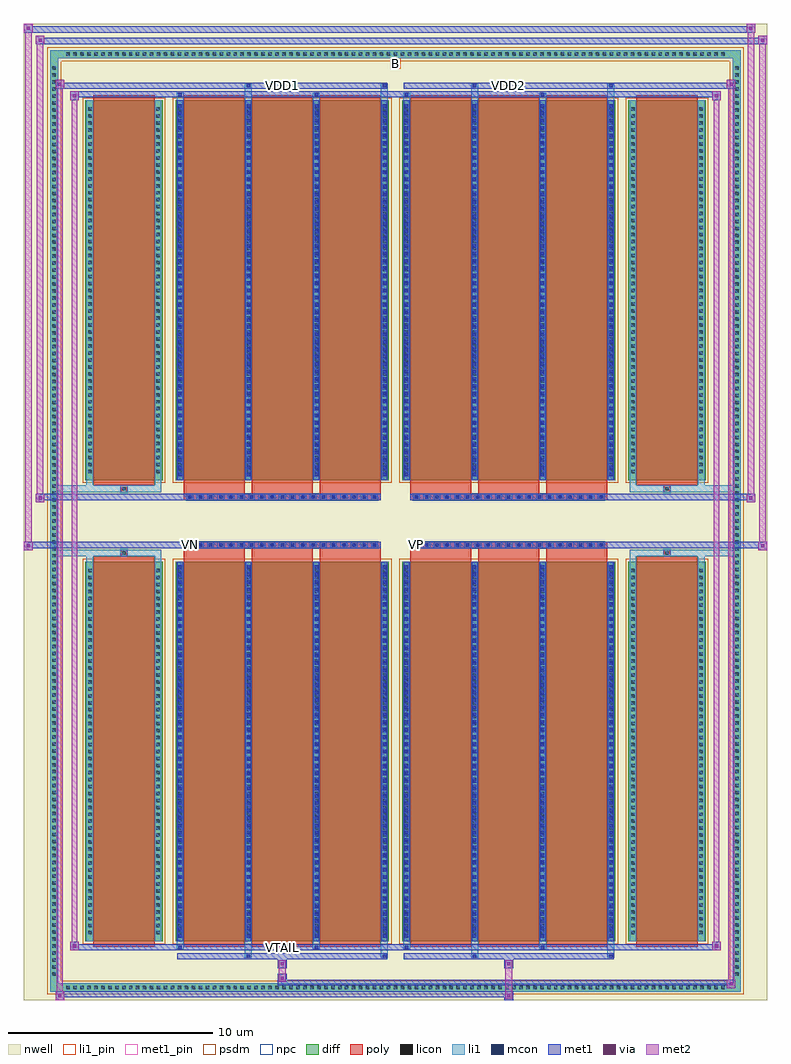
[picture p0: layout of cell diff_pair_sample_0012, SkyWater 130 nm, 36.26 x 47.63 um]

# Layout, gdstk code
import gdstk
lib = gdstk.Library(unit=1e-6, precision=5e-09)
def R(c, l, rs):  # rectangles x0, y0, x1, y1
    for r in rs: c.add(gdstk.rectangle(r[:2], r[2:], *l))
def A(c, l, x, y, w, h, nx, ny, dx, dy):  # array of equal rectangles
    R(c, l, [(x+i*dx, y+j*dy, x+i*dx+w, y+j*dy+h) for i in range(nx) for j in range(ny)])
def P(c, l, *ps):  # polygons
    for p in ps: c.add(gdstk.Polygon(p, *l))
nwell = (64, 20)
diff = (65, 20)
poly = (66, 20)
licon = (66, 44)
li1_pin = (67, 16)
li1 = (67, 20)
mcon = (67, 44)
met1_pin = (68, 16)
met1 = (68, 20)
via = (68, 44)
met2 = (69, 20)
psdm = (94, 20)
npc = (95, 20)

diff_pair_sample_0012 = lib.new_cell('diff_pair_sample_0012')
R(diff_pair_sample_0012, nwell, [(-18.13,-23.38,18.13,24.25), (-15.45,-21.57,-0.01,-0.805), (0.01,-21.57,15.45,-0.805), (-15.45,0.805,-0.01,21.57), (0.01,0.805,15.45,21.57)])
A(diff_pair_sample_0012, diff, -16.185, -22.98, 0.41, 0.41, 95, 2, 0.34, 45.55)
A(diff_pair_sample_0012, diff, -16.86, -22.305, 0.41, 0.41, 1, 131, 0, 0.34)
A(diff_pair_sample_0012, diff, 16.45, -22.305, 0.41, 0.41, 1, 131, 0, 0.34)
R(diff_pair_sample_0012, diff, [(-16.185,-22.98,16.185,-22.57), (-16.86,-22.305,-16.45,22.305), (16.45,-22.305,16.86,22.305), (-15.14,-20.525,-11.37,-1.985), (-10.73,-20.525,-0.32,-1.985), (0.32,-20.525,10.73,-1.985), (11.37,-20.525,15.14,-1.985), (-15.14,1.985,-11.37,20.525), (-10.73,1.985,-0.32,20.525), (0.32,1.985,10.73,20.525), (11.37,1.985,15.14,20.525), (-16.185,22.57,16.185,22.98)])
P(diff_pair_sample_0012, diff, [(16.86,22.98),(-16.86,22.98),(-16.86,-22.57),(-16.45,-22.57),(-16.45,22.57),(16.45,22.57),(16.45,-22.57),(-16.45,-22.57),(-16.86,-22.57),(-16.86,-22.98),(16.86,-22.98)])
A(diff_pair_sample_0012, poly, -10.34, -20.775, 2.99, 19.04, 3, 2, 3.32, 22.51)
A(diff_pair_sample_0012, poly, 0.71, -20.775, 2.99, 19.04, 3, 2, 3.32, 22.51)
A(diff_pair_sample_0012, poly, -10.34, -1.735, 2.99, 0.4, 3, 2, 3.32, 3.07)
A(diff_pair_sample_0012, poly, 0.71, -1.735, 2.99, 0.4, 3, 2, 3.32, 3.07)
A(diff_pair_sample_0012, poly, -10.19, -1.335, 0.33, 0.33, 19, 2, 0.5, 2.34)
A(diff_pair_sample_0012, poly, 0.86, -1.335, 0.33, 0.33, 19, 2, 0.5, 2.34)
R(diff_pair_sample_0012, poly, [(-14.75,-20.775,-11.76,-1.735), (11.76,-20.775,14.75,-1.735), (-13.42,-1.735,-13.09,-1.405), (-13.42,-1.735,-13.09,-1.405), (13.09,-1.735,13.42,-1.405), (13.09,-1.735,13.42,-1.405), (-10.34,-1.335,-0.71,-1.005), (0.71,-1.335,10.34,-1.005), (-10.34,1.005,-0.71,1.335), (0.71,1.005,10.34,1.335), (-13.42,1.405,-13.09,1.735), (-13.42,1.405,-13.09,1.735), (13.09,1.405,13.42,1.735), (13.09,1.405,13.42,1.735), (-14.75,1.735,-11.76,20.775), (11.76,1.735,14.75,20.775)])
A(diff_pair_sample_0012, licon, -16.065, -22.86, 0.17, 0.17, 95, 2, 0.34, 45.55)
A(diff_pair_sample_0012, licon, -16.74, -22.185, 0.17, 0.17, 1, 131, 0, 0.34)
A(diff_pair_sample_0012, licon, 16.57, -22.185, 0.17, 0.17, 1, 131, 0, 0.34)
A(diff_pair_sample_0012, licon, -15, -20.18, 0.17, 0.17, 1, 53, 0, 0.34)
A(diff_pair_sample_0012, licon, -11.68, -20.18, 0.17, 0.17, 1, 53, 0, 0.34)
A(diff_pair_sample_0012, licon, -10.59, -20.18, 0.17, 0.17, 4, 53, 3.32, 0.34)
A(diff_pair_sample_0012, licon, 0.46, -20.18, 0.17, 0.17, 4, 53, 3.32, 0.34)
A(diff_pair_sample_0012, licon, 11.51, -20.18, 0.17, 0.17, 1, 53, 0, 0.34)
A(diff_pair_sample_0012, licon, 14.83, -20.18, 0.17, 0.17, 1, 53, 0, 0.34)
A(diff_pair_sample_0012, licon, -10.11, -1.255, 0.17, 0.17, 19, 2, 0.5, 2.34)
A(diff_pair_sample_0012, licon, 0.94, -1.255, 0.17, 0.17, 19, 2, 0.5, 2.34)
A(diff_pair_sample_0012, licon, -15, 2.33, 0.17, 0.17, 1, 53, 0, 0.34)
A(diff_pair_sample_0012, licon, -11.68, 2.33, 0.17, 0.17, 1, 53, 0, 0.34)
A(diff_pair_sample_0012, licon, -10.59, 2.33, 0.17, 0.17, 4, 53, 3.32, 0.34)
A(diff_pair_sample_0012, licon, 0.46, 2.33, 0.17, 0.17, 4, 53, 3.32, 0.34)
A(diff_pair_sample_0012, licon, 11.51, 2.33, 0.17, 0.17, 1, 53, 0, 0.34)
A(diff_pair_sample_0012, licon, 14.83, 2.33, 0.17, 0.17, 1, 53, 0, 0.34)
R(diff_pair_sample_0012, licon, [(-13.34,-1.655,-13.17,-1.485), (13.17,-1.655,13.34,-1.485), (-13.34,1.485,-13.17,1.655), (13.17,1.485,13.34,1.655)])
R(diff_pair_sample_0012, li1_pin, [(-0.25,22.07,0.25,22.57)])
A(diff_pair_sample_0012, li1, -16.145, -22.94, 0.33, 0.33, 95, 2, 0.34, 45.55)
A(diff_pair_sample_0012, li1, -16.82, -22.265, 0.33, 0.33, 1, 131, 0, 0.34)
A(diff_pair_sample_0012, li1, 16.49, -22.265, 0.33, 0.33, 1, 131, 0, 0.34)
A(diff_pair_sample_0012, li1, -10.67, -20.525, 0.33, 18.54, 4, 2, 3.32, 22.51)
A(diff_pair_sample_0012, li1, 0.38, -20.525, 0.33, 18.54, 4, 2, 3.32, 22.51)
A(diff_pair_sample_0012, li1, -10.59, -20.34, 0.17, 0.17, 4, 51, 3.32, 0.36)
A(diff_pair_sample_0012, li1, -10.59, -20.34, 0.17, 18.17, 4, 2, 3.32, 22.51)
A(diff_pair_sample_0012, li1, 0.46, -20.34, 0.17, 0.17, 4, 51, 3.32, 0.36)
A(diff_pair_sample_0012, li1, 0.46, -20.34, 0.17, 18.17, 4, 2, 3.32, 22.51)
A(diff_pair_sample_0012, li1, -15.08, -20.26, 0.33, 0.33, 1, 53, 0, 0.34)
A(diff_pair_sample_0012, li1, -11.76, -20.26, 0.33, 0.33, 1, 53, 0, 0.34)
A(diff_pair_sample_0012, li1, -10.67, -20.26, 0.33, 0.33, 4, 53, 3.32, 0.34)
A(diff_pair_sample_0012, li1, 0.38, -20.26, 0.33, 0.33, 4, 53, 3.32, 0.34)
A(diff_pair_sample_0012, li1, 11.43, -20.26, 0.33, 0.33, 1, 53, 0, 0.34)
A(diff_pair_sample_0012, li1, 14.75, -20.26, 0.33, 0.33, 1, 53, 0, 0.34)
A(diff_pair_sample_0012, li1, -10.19, -1.335, 0.33, 0.33, 19, 2, 0.5, 2.34)
A(diff_pair_sample_0012, li1, 0.86, -1.335, 0.33, 0.33, 19, 2, 0.5, 2.34)
A(diff_pair_sample_0012, li1, -10.59, 2.17, 0.17, 0.17, 4, 51, 3.32, 0.36)
A(diff_pair_sample_0012, li1, 0.46, 2.17, 0.17, 0.17, 4, 51, 3.32, 0.36)
A(diff_pair_sample_0012, li1, -15.08, 2.25, 0.33, 0.33, 1, 53, 0, 0.34)
A(diff_pair_sample_0012, li1, -11.76, 2.25, 0.33, 0.33, 1, 53, 0, 0.34)
A(diff_pair_sample_0012, li1, -10.67, 2.25, 0.33, 0.33, 4, 53, 3.32, 0.34)
A(diff_pair_sample_0012, li1, 0.38, 2.25, 0.33, 0.33, 4, 53, 3.32, 0.34)
A(diff_pair_sample_0012, li1, 11.43, 2.25, 0.33, 0.33, 1, 53, 0, 0.34)
A(diff_pair_sample_0012, li1, 14.75, 2.25, 0.33, 0.33, 1, 53, 0, 0.34)
R(diff_pair_sample_0012, li1, [(-16.86,-22.98,-16.45,-22.57), (-16.86,-22.98,-16.45,-22.57), (-16.45,-22.98,16.45,-22.57), (16.45,-22.98,16.86,-22.57), (16.45,-22.98,16.86,-22.57), (-16.86,-22.57,-16.45,22.57), (16.45,-22.57,16.86,22.57), (-7.35,-21.33,-7.02,-20.525), (-7.27,-21.33,-7.1,-21.16), (-0.71,-21.33,-0.38,-20.525), (-0.63,-21.33,-0.46,-21.16), (3.7,-21.33,4.03,-20.525), (3.78,-21.33,3.95,-21.16), (10.34,-21.33,10.67,-20.525), (10.42,-21.33,10.59,-21.16), (-10.67,-20.9,-10.34,-20.525), (-10.59,-20.9,-10.42,-20.73), (-4.03,-20.9,-3.7,-20.525), (-3.95,-20.9,-3.78,-20.73), (0.38,-20.9,0.71,-20.525), (0.46,-20.9,0.63,-20.73), (7.02,-20.9,7.35,-20.525), (7.1,-20.9,7.27,-20.73), (-15.08,-20.525,-14.75,-1.985), (-11.76,-20.525,-11.43,-1.985), (11.43,-20.525,11.76,-1.985), (14.75,-20.525,15.08,-1.985), (-15.08,-1.985,-14.75,-1.405), (-11.76,-1.985,-11.43,-1.405), (11.43,-1.985,11.76,-1.405), (14.75,-1.985,15.08,-1.405), (-16.86,-1.735,-13.42,-1.405), (-15.08,-1.735,-13.42,-1.405), (-13.42,-1.735,-13.09,-1.405), (-13.09,-1.735,-11.43,-1.405), (11.43,-1.735,13.09,-1.405), (13.09,-1.735,13.42,-1.405), (13.09,-1.735,16.86,-1.405), (13.42,-1.735,15.08,-1.405), (-16.86,1.405,-13.42,1.735), (-15.08,1.405,-13.42,1.735), (-15.08,1.405,-14.75,1.985), (-13.42,1.405,-13.09,1.735), (-13.09,1.405,-11.43,1.735), (-11.76,1.405,-11.43,1.985), (11.43,1.405,13.09,1.735), (11.43,1.405,11.76,1.985), (13.09,1.405,13.42,1.735), (13.09,1.405,16.86,1.735), (13.42,1.405,15.08,1.735), (14.75,1.405,15.08,1.985), (-15.08,1.985,-14.75,20.525), (-11.76,1.985,-11.43,20.525), (11.43,1.985,11.76,20.525), (14.75,1.985,15.08,20.525), (-10.67,20.525,-10.34,20.9), (-7.35,20.525,-7.02,21.33), (-4.03,20.525,-3.7,20.9), (-0.71,20.525,-0.38,21.33), (0.38,20.525,0.71,20.9), (3.7,20.525,4.03,21.33), (7.02,20.525,7.35,20.9), (10.34,20.525,10.67,21.33), (-10.59,20.73,-10.42,20.9), (-3.95,20.73,-3.78,20.9), (0.46,20.73,0.63,20.9), (7.1,20.73,7.27,20.9), (-7.27,21.16,-7.1,21.33), (-0.63,21.16,-0.46,21.33), (3.78,21.16,3.95,21.33), (10.42,21.16,10.59,21.33), (-16.86,22.57,-16.45,22.98), (-16.86,22.57,-16.45,22.98), (-16.45,22.57,16.45,22.98), (16.45,22.57,16.86,22.98), (16.45,22.57,16.86,22.98)])
A(diff_pair_sample_0012, mcon, -10.59, -20.34, 0.17, 0.17, 4, 51, 3.32, 0.36)
A(diff_pair_sample_0012, mcon, 0.46, -20.34, 0.17, 0.17, 4, 51, 3.32, 0.36)
A(diff_pair_sample_0012, mcon, -10.11, -1.255, 0.17, 0.17, 19, 2, 0.5, 2.34)
A(diff_pair_sample_0012, mcon, 0.94, -1.255, 0.17, 0.17, 19, 2, 0.5, 2.34)
A(diff_pair_sample_0012, mcon, -10.59, 2.17, 0.17, 0.17, 4, 51, 3.32, 0.36)
A(diff_pair_sample_0012, mcon, 0.46, 2.17, 0.17, 0.17, 4, 51, 3.32, 0.36)
R(diff_pair_sample_0012, mcon, [(-7.27,-21.33,-7.1,-21.16), (-0.63,-21.33,-0.46,-21.16), (3.78,-21.33,3.95,-21.16), (10.42,-21.33,10.59,-21.16), (-10.59,-20.9,-10.42,-20.73), (-3.95,-20.9,-3.78,-20.73), (0.46,-20.9,0.63,-20.73), (7.1,-20.9,7.27,-20.73), (-10.59,20.73,-10.42,20.9), (-3.95,20.73,-3.78,20.9), (0.46,20.73,0.63,20.9), (7.1,20.73,7.27,20.9), (-7.27,21.16,-7.1,21.33), (-0.63,21.16,-0.46,21.33), (3.78,21.16,3.95,21.33), (10.42,21.16,10.59,21.33)])
R(diff_pair_sample_0012, met1_pin, [(-5.66,-20.94,-5.39,-20.67), (-10.16,-1.295,-9.89,-1.025), (0.89,-1.295,1.16,-1.025), (-5.66,21.12,-5.39,21.39), (5.39,21.12,5.66,21.39)])
A(diff_pair_sample_0012, met1, -10.65, -20.525, 0.29, 18.54, 4, 2, 3.32, 22.51)
A(diff_pair_sample_0012, met1, 0.4, -20.525, 0.29, 18.54, 4, 2, 3.32, 22.51)
A(diff_pair_sample_0012, met1, -10.65, -20.4, 0.29, 0.29, 4, 51, 3.32, 0.36)
A(diff_pair_sample_0012, met1, 0.4, -20.4, 0.29, 0.29, 4, 51, 3.32, 0.36)
A(diff_pair_sample_0012, met1, -10.17, -1.315, 0.29, 0.29, 19, 2, 0.5, 2.34)
A(diff_pair_sample_0012, met1, 0.88, -1.315, 0.29, 0.29, 19, 2, 0.5, 2.34)
A(diff_pair_sample_0012, met1, -10.65, 2.11, 0.29, 0.29, 4, 51, 3.32, 0.36)
A(diff_pair_sample_0012, met1, 0.4, 2.11, 0.29, 0.29, 4, 51, 3.32, 0.36)
R(diff_pair_sample_0012, met1, [(-16.59,-23.38,-16.16,-22.95), (5.31,-23.38,5.74,-22.95), (-16.59,-23.24,5.74,-22.95), (16.16,-22.81,16.59,-22.38), (-5.74,-22.67,16.59,-22.38), (-5.74,-22.53,-5.31,-22.1), (-5.74,-21.82,-5.31,-21.39), (5.31,-21.82,5.74,-21.39), (-10.65,-21.39,-0.4,-21.1), (-7.33,-21.39,-7.04,-21.1), (-0.69,-21.39,-0.4,-21.1), (0.4,-21.39,10.65,-21.1), (3.72,-21.39,4.01,-21.1), (10.36,-21.39,10.65,-21.1), (-15.88,-20.96,-15.45,-20.53), (-15.88,-20.96,-10.65,-20.67), (-10.65,-20.96,-10.36,-20.67), (-10.65,-20.96,-0.4,-20.67), (-4.01,-20.96,-3.72,-20.67), (-0.4,-20.96,0.4,-20.67), (0.4,-20.96,0.69,-20.67), (0.4,-20.96,10.65,-20.67), (7.04,-20.96,7.33,-20.67), (10.65,-20.96,15.88,-20.67), (15.45,-20.96,15.88,-20.53), (-18.13,-1.435,-17.7,-1.005), (17.7,-1.435,18.13,-1.005), (-18.13,-1.335,-0.71,-1.005), (-10.34,-1.335,-0.71,-1.005), (0.71,-1.335,10.34,-1.005), (0.71,-1.335,18.13,-1.005), (-17.56,0.905,-17.13,1.335), (17.13,0.905,17.56,1.335), (-17.56,1.005,-10.34,1.335), (-10.34,1.005,-0.71,1.335), (0.71,1.005,10.34,1.335), (10.34,1.005,17.56,1.335), (-15.88,20.53,-15.45,20.96), (15.45,20.53,15.88,20.96), (-15.88,20.67,-10.65,20.96), (-10.65,20.67,-10.36,20.96), (-10.65,20.67,-0.4,20.96), (-4.01,20.67,-3.72,20.96), (-0.4,20.67,0.4,20.96), (0.4,20.67,0.69,20.96), (0.4,20.67,10.65,20.96), (7.04,20.67,7.33,20.96), (10.65,20.67,15.88,20.96), (-16.59,21.1,-16.16,21.53), (-16.59,21.1,-10.65,21.39), (-10.65,21.1,-0.4,21.39), (-7.33,21.1,-7.04,21.39), (-0.69,21.1,-0.4,21.39), (0.4,21.1,10.65,21.39), (3.72,21.1,4.01,21.39), (10.36,21.1,10.65,21.39), (10.65,21.1,16.59,21.39), (16.16,21.1,16.59,21.53), (-17.56,23.25,-17.13,23.68), (-17.56,23.25,-15.45,23.58), (-15.45,23.25,15.45,23.58), (15.45,23.25,18.13,23.58), (17.7,23.25,18.13,23.68), (-18.13,23.82,-17.7,24.25), (-18.13,23.82,-15.45,24.15), (-15.45,23.82,15.45,24.15), (15.45,23.82,17.56,24.15), (17.13,23.82,17.56,24.25)])
R(diff_pair_sample_0012, via, [(-16.45,-23.24,-16.3,-23.09), (5.45,-23.24,5.6,-23.09), (16.3,-22.67,16.45,-22.52), (-5.6,-22.39,-5.45,-22.24), (-5.6,-21.68,-5.45,-21.53), (5.45,-21.68,5.6,-21.53), (-15.74,-20.82,-15.59,-20.67), (15.59,-20.82,15.74,-20.67), (-17.99,-1.295,-17.84,-1.145), (17.84,-1.295,17.99,-1.145), (-17.42,1.045,-17.27,1.195), (17.27,1.045,17.42,1.195), (-15.74,20.67,-15.59,20.82), (15.59,20.67,15.74,20.82), (-16.45,21.24,-16.3,21.39), (16.3,21.24,16.45,21.39), (-17.42,23.39,-17.27,23.54), (17.84,23.39,17.99,23.54), (-17.99,23.96,-17.84,24.11), (17.27,23.96,17.42,24.11)])
R(diff_pair_sample_0012, met2, [(-16.59,-23.38,-16.16,-22.95), (-16.52,-23.38,-16.23,21.53), (-16.23,-23.38,-16.16,-22.95), (-16.54,-23.33,-16.21,-23), (5.36,-23.33,5.69,-23), (5.36,-23,5.69,-21.77), (16.16,-22.81,16.59,-22.38), (16.23,-22.81,16.52,21.53), (16.52,-22.81,16.59,-22.38), (16.21,-22.76,16.54,-22.43), (-5.69,-22.48,-5.36,-22.15), (-5.69,-22.15,-5.36,-21.77), (-5.69,-21.77,-5.36,-21.44), (5.36,-21.77,5.69,-21.44), (-15.88,-20.96,-15.45,-20.53), (-15.81,-20.96,-15.52,20.96), (-15.52,-20.96,-15.45,-20.53), (15.45,-20.96,15.88,-20.53), (15.52,-20.96,15.81,20.96), (15.81,-20.96,15.88,-20.53), (-15.83,-20.91,-15.5,-20.58), (15.5,-20.91,15.83,-20.58), (-18.13,-1.435,-17.7,-1.005), (-18.08,-1.435,-17.75,24.25), (-17.75,-1.435,-17.7,-1.005), (17.7,-1.435,18.13,-1.005), (17.75,-1.435,18.08,23.68), (18.08,-1.435,18.13,-1.005), (-18.08,-1.385,-17.75,-1.055), (17.75,-1.385,18.08,-1.055), (-17.56,0.905,-17.13,1.335), (-17.51,0.905,-17.18,23.68), (-17.18,0.905,-17.13,1.335), (17.13,0.905,17.56,1.335), (17.18,0.905,17.51,24.25), (17.51,0.905,17.56,1.335), (-17.51,0.955,-17.18,1.285), (17.18,0.955,17.51,1.285), (-15.88,20.53,-15.45,20.96), (-15.52,20.53,-15.45,20.96), (15.45,20.53,15.88,20.96), (15.81,20.53,15.88,20.96), (-15.83,20.58,-15.5,20.91), (15.5,20.58,15.83,20.91), (-16.59,21.1,-16.16,21.53), (-16.23,21.1,-16.16,21.53), (16.16,21.1,16.59,21.53), (16.52,21.1,16.59,21.53), (-16.54,21.15,-16.21,21.48), (16.21,21.15,16.54,21.48), (-17.56,23.25,-17.13,23.68), (-17.18,23.25,-17.13,23.68), (17.7,23.25,18.13,23.68), (18.08,23.25,18.13,23.68), (-17.51,23.3,-17.18,23.63), (17.75,23.3,18.08,23.63), (-18.13,23.82,-17.7,24.25), (-17.75,23.82,-17.7,24.25), (17.13,23.82,17.56,24.25), (17.51,23.82,17.56,24.25), (-18.08,23.87,-17.75,24.2), (17.18,23.87,17.51,24.2)])
R(diff_pair_sample_0012, psdm, [(-15.27,-20.655,-11.24,-1.855), (-10.86,-20.655,-0.19,-1.855), (0.19,-20.655,10.86,-1.855), (11.24,-20.655,15.27,-1.855), (-15.27,1.855,-11.24,20.655), (-10.86,1.855,-0.19,20.655), (0.19,1.855,10.86,20.655), (11.24,1.855,15.27,20.655)])
P(diff_pair_sample_0012, psdm, [(16.99,23.11),(-16.99,23.11),(-16.99,-22.44),(-16.32,-22.44),(-16.32,22.44),(16.32,22.44),(16.32,-22.44),(-16.32,-22.44),(-16.99,-22.44),(-16.99,-23.11),(16.99,-23.11)])
A(diff_pair_sample_0012, npc, -10.21, -1.355, 0.37, 0.37, 19, 2, 0.5, 2.34)
A(diff_pair_sample_0012, npc, 0.84, -1.355, 0.37, 0.37, 19, 2, 0.5, 2.34)
R(diff_pair_sample_0012, npc, [(-13.44,-1.755,-13.07,-1.385), (13.07,-1.755,13.44,-1.385), (-10.21,-1.355,-9.34,-0.985), (-10.21,-1.355,-9.34,-0.985), (-9.71,-1.355,-8.84,-0.985), (-9.71,-1.355,-8.84,-0.985), (-9.21,-1.355,-8.34,-0.985), (-9.21,-1.355,-8.34,-0.985), (-8.71,-1.355,-7.84,-0.985), (-8.71,-1.355,-7.84,-0.985), (-8.21,-1.355,-7.34,-0.985), (-8.21,-1.355,-7.34,-0.985), (-7.71,-1.355,-6.84,-0.985), (-7.71,-1.355,-6.84,-0.985), (-7.21,-1.355,-6.34,-0.985), (-7.21,-1.355,-6.34,-0.985), (-6.71,-1.355,-5.84,-0.985), (-6.71,-1.355,-5.84,-0.985), (-6.21,-1.355,-5.34,-0.985), (-6.21,-1.355,-5.34,-0.985), (-5.71,-1.355,-4.84,-0.985), (-5.71,-1.355,-4.84,-0.985), (-5.21,-1.355,-4.34,-0.985), (-5.21,-1.355,-4.34,-0.985), (-4.71,-1.355,-3.84,-0.985), (-4.71,-1.355,-3.84,-0.985), (-4.21,-1.355,-3.34,-0.985), (-4.21,-1.355,-3.34,-0.985), (-3.71,-1.355,-2.84,-0.985), (-3.71,-1.355,-2.84,-0.985), (-3.21,-1.355,-2.34,-0.985), (-3.21,-1.355,-2.34,-0.985), (-2.71,-1.355,-1.84,-0.985), (-2.71,-1.355,-1.84,-0.985), (-2.21,-1.355,-1.34,-0.985), (-2.21,-1.355,-1.34,-0.985), (-1.71,-1.355,-0.84,-0.985), (-1.71,-1.355,-0.84,-0.985), (0.84,-1.355,1.71,-0.985), (0.84,-1.355,1.71,-0.985), (1.34,-1.355,2.21,-0.985), (1.34,-1.355,2.21,-0.985), (1.84,-1.355,2.71,-0.985), (1.84,-1.355,2.71,-0.985), (2.34,-1.355,3.21,-0.985), (2.34,-1.355,3.21,-0.985), (2.84,-1.355,3.71,-0.985), (2.84,-1.355,3.71,-0.985), (3.34,-1.355,4.21,-0.985), (3.34,-1.355,4.21,-0.985), (3.84,-1.355,4.71,-0.985), (3.84,-1.355,4.71,-0.985), (4.34,-1.355,5.21,-0.985), (4.34,-1.355,5.21,-0.985), (4.84,-1.355,5.71,-0.985), (4.84,-1.355,5.71,-0.985), (5.34,-1.355,6.21,-0.985), (5.34,-1.355,6.21,-0.985), (5.84,-1.355,6.71,-0.985), (5.84,-1.355,6.71,-0.985), (6.34,-1.355,7.21,-0.985), (6.34,-1.355,7.21,-0.985), (6.84,-1.355,7.71,-0.985), (6.84,-1.355,7.71,-0.985), (7.34,-1.355,8.21,-0.985), (7.34,-1.355,8.21,-0.985), (7.84,-1.355,8.71,-0.985), (7.84,-1.355,8.71,-0.985), (8.34,-1.355,9.21,-0.985), (8.34,-1.355,9.21,-0.985), (8.84,-1.355,9.71,-0.985), (8.84,-1.355,9.71,-0.985), (9.34,-1.355,10.21,-0.985), (9.34,-1.355,10.21,-0.985), (-10.21,0.985,-9.34,1.355), (-10.21,0.985,-9.34,1.355), (-9.71,0.985,-8.84,1.355), (-9.71,0.985,-8.84,1.355), (-9.21,0.985,-8.34,1.355), (-9.21,0.985,-8.34,1.355), (-8.71,0.985,-7.84,1.355), (-8.71,0.985,-7.84,1.355), (-8.21,0.985,-7.34,1.355), (-8.21,0.985,-7.34,1.355), (-7.71,0.985,-6.84,1.355), (-7.71,0.985,-6.84,1.355), (-7.21,0.985,-6.34,1.355), (-7.21,0.985,-6.34,1.355), (-6.71,0.985,-5.84,1.355), (-6.71,0.985,-5.84,1.355), (-6.21,0.985,-5.34,1.355), (-6.21,0.985,-5.34,1.355), (-5.71,0.985,-4.84,1.355), (-5.71,0.985,-4.84,1.355), (-5.21,0.985,-4.34,1.355), (-5.21,0.985,-4.34,1.355), (-4.71,0.985,-3.84,1.355), (-4.71,0.985,-3.84,1.355), (-4.21,0.985,-3.34,1.355), (-4.21,0.985,-3.34,1.355), (-3.71,0.985,-2.84,1.355), (-3.71,0.985,-2.84,1.355), (-3.21,0.985,-2.34,1.355), (-3.21,0.985,-2.34,1.355), (-2.71,0.985,-1.84,1.355), (-2.71,0.985,-1.84,1.355), (-2.21,0.985,-1.34,1.355), (-2.21,0.985,-1.34,1.355), (-1.71,0.985,-0.84,1.355), (-1.71,0.985,-0.84,1.355), (0.84,0.985,1.71,1.355), (0.84,0.985,1.71,1.355), (1.34,0.985,2.21,1.355), (1.34,0.985,2.21,1.355), (1.84,0.985,2.71,1.355), (1.84,0.985,2.71,1.355), (2.34,0.985,3.21,1.355), (2.34,0.985,3.21,1.355), (2.84,0.985,3.71,1.355), (2.84,0.985,3.71,1.355), (3.34,0.985,4.21,1.355), (3.34,0.985,4.21,1.355), (3.84,0.985,4.71,1.355), (3.84,0.985,4.71,1.355), (4.34,0.985,5.21,1.355), (4.34,0.985,5.21,1.355), (4.84,0.985,5.71,1.355), (4.84,0.985,5.71,1.355), (5.34,0.985,6.21,1.355), (5.34,0.985,6.21,1.355), (5.84,0.985,6.71,1.355), (5.84,0.985,6.71,1.355), (6.34,0.985,7.21,1.355), (6.34,0.985,7.21,1.355), (6.84,0.985,7.71,1.355), (6.84,0.985,7.71,1.355), (7.34,0.985,8.21,1.355), (7.34,0.985,8.21,1.355), (7.84,0.985,8.71,1.355), (7.84,0.985,8.71,1.355), (8.34,0.985,9.21,1.355), (8.34,0.985,9.21,1.355), (8.84,0.985,9.71,1.355), (8.84,0.985,9.71,1.355), (9.34,0.985,10.21,1.355), (9.34,0.985,10.21,1.355), (-13.44,1.385,-13.07,1.755), (13.07,1.385,13.44,1.755)])
diff_pair_sample_0012.add(gdstk.Label('VTAIL', (-5.525,-20.805), layer=68, texttype=5))
diff_pair_sample_0012.add(gdstk.Label('VN', (-10.025,-1.16), layer=68, texttype=5))
diff_pair_sample_0012.add(gdstk.Label('VP', (1.025,-1.16), layer=68, texttype=5))
diff_pair_sample_0012.add(gdstk.Label('B', (0,22.32), layer=67, texttype=5))
diff_pair_sample_0012.add(gdstk.Label('VDD2', (5.525,21.255), layer=68, texttype=5))
diff_pair_sample_0012.add(gdstk.Label('VDD1', (-5.525,21.255), layer=68, texttype=5))

lib.write_gds('diff_pair_sample_0012.gds')
